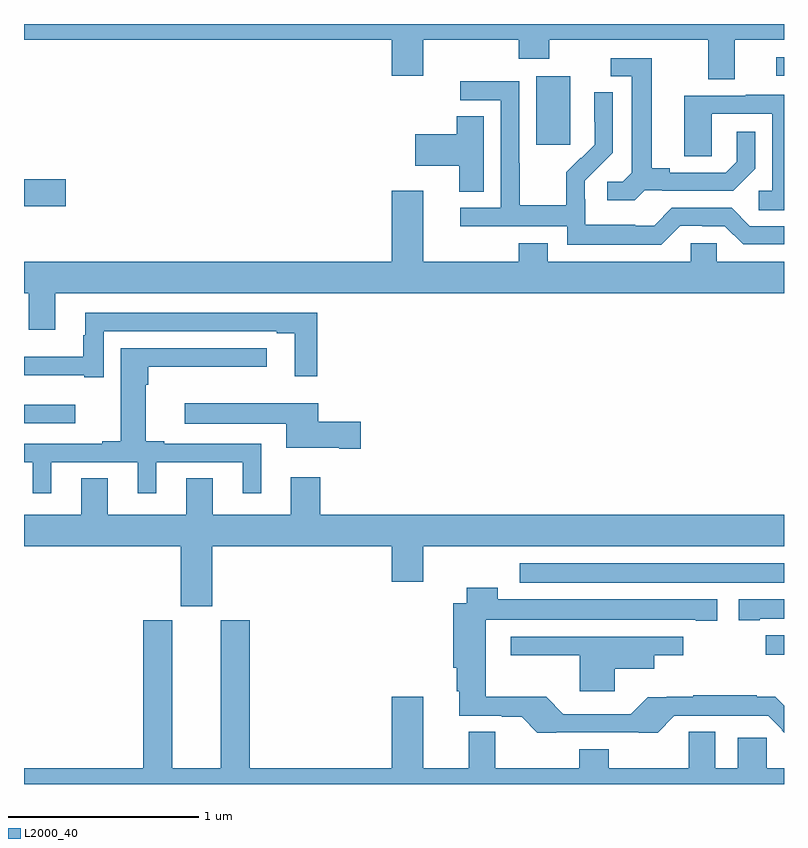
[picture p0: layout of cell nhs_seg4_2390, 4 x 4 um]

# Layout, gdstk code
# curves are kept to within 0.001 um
import gdstk
lib = gdstk.Library(unit=1e-6, precision=1e-09)
def R(c, l, rs):  # rectangles x0, y0, x1, y1
    for r in rs: c.add(gdstk.rectangle(r[:2], r[2:], *l))
def P(c, l, *ps):  # polygons
    for p in ps: c.add(gdstk.Polygon(p, *l))
L2000_40 = (2000, 40)

nhs_seg4_2390 = lib.new_cell('nhs_seg4_2390')
R(nhs_seg4_2390, L2000_40, [(238.905,797.579,239,797.683), (237.609,797.96,239,798.061), (235,798.798,235.27,798.895), (235,799.942,235.219,800.084), (237.695,800.265,237.874,800.626), (238.959,800.628,239,800.724)])
P(nhs_seg4_2390, L2000_40, [(235,800.816),(236.936,800.816),(236.936,800.628),(237.1,800.628),(237.1,800.816),(237.605,800.816),(237.605,800.717),(237.765,800.717),(237.765,800.816),(238.601,800.816),(238.601,800.608),(238.741,800.608),(238.741,800.816),(239,800.816),(239,800.9),(235,800.9)],
  [(238.266,800.025),(238.36,800.025),(238.36,800.022),(238.732,800.022),(238.848,800.138),(238.848,800.332),(238.751,800.332),(238.751,800.175),(238.694,800.118),(238.399,800.118),(238.399,800.141),(238.303,800.141),(238.303,800.721),(238.089,800.721),(238.089,800.625),(238.199,800.625),(238.199,800.117),(238.152,800.07),(238.071,800.07),(238.071,799.973),(238.214,799.973)],
  [(238.455,799.839),(238.571,799.839),(238.571,799.836),(238.689,799.836),(238.785,799.74),(239,799.74),(239,799.836),(238.821,799.836),(238.725,799.932),(238.41,799.932),(238.317,799.839),(238.217,799.839),(238.217,799.843),(237.954,799.843),(237.954,799.977),(237.952,799.977),(237.952,800.074),(238.098,800.222),(238.098,800.54),(238.002,800.54),(238.002,800.386),(238.004,800.386),(238.004,800.264),(237.933,800.193),(237.93,800.196),(237.853,800.119),(237.853,799.945),(237.609,799.945),(237.609,800.168),(237.606,800.168),(237.606,800.598),(237.297,800.598),(237.297,800.499),(237.51,800.499),(237.51,799.932),(237.297,799.932),(237.297,799.836),(237.858,799.836),(237.858,799.739),(238.355,799.739)],
  [(239,800.527),(238.799,800.527),(238.799,800.523),(238.475,800.523),(238.475,800.203),(238.62,800.203),(238.62,800.427),(238.938,800.427),(238.938,800.022),(238.866,800.022),(238.866,799.921),(239,799.921)],
  [(237.421,800.414),(237.278,800.414),(237.278,800.319),(237.06,800.319),(237.06,800.153),(237.29,800.153),(237.29,800.017),(237.421,800.017)],
  [(235.165,799.484),(239,799.484),(239,799.648),(238.647,799.648),(238.647,799.746),(238.509,799.746),(238.509,799.648),(237.757,799.648),(237.757,799.747),(237.605,799.747),(237.605,799.648),(237.1,799.648),(237.1,800.023),(236.936,800.023),(236.936,799.648),(235,799.648),(235,799.484),(235.025,799.484),(235.025,799.29),(235.165,799.29)],
  [(235.419,799.284),(236.33,799.284),(236.33,799.272),(236.426,799.272),(236.426,799.047),(236.543,799.047),(236.543,799.38),(235.322,799.38),(235.322,799.262),(235.311,799.262),(235.311,799.15),(235,799.15),(235,799.052),(235.316,799.052),(235.316,799.041),(235.419,799.041)],
  [(235.144,798.594),(235.598,798.594),(235.598,798.429),(235.696,798.429),(235.696,798.594),(236.15,798.594),(236.15,798.429),(236.248,798.429),(236.248,798.69),(235.738,798.69),(235.738,798.703),(235.642,798.703),(235.642,799.001),(235.655,799.001),(235.655,799.097),(236.278,799.097),(236.278,799.194),(235.508,799.194),(235.508,798.703),(235.412,798.703),(235.412,798.69),(235,798.69),(235,798.594),(235.046,798.594),(235.046,798.429),(235.144,798.429)],
  [(236.773,798.806),(236.548,798.806),(236.548,798.904),(235.845,798.904),(235.845,798.797),(236.381,798.797),(236.381,798.671),(236.66,798.671),(236.66,798.664),(236.773,798.664)],
  [(236.405,798.514),(236.405,798.316),(235.993,798.316),(235.993,798.509),(235.853,798.509),(235.853,798.316),(235.441,798.316),(235.441,798.509),(235.301,798.509),(235.301,798.316),(235,798.316),(235,798.152),(235.826,798.152),(235.826,797.835),(235.99,797.835),(235.99,798.152),(236.936,798.152),(236.936,797.964),(237.1,797.964),(237.1,798.152),(239,798.152),(239,798.316),(236.558,798.316),(236.558,798.514)],
  [(237.802,797.172),(238.335,797.171),(238.423,797.259),(238.917,797.259),(238.991,797.186),(238.988,797.183),(239,797.171),(239,797.312),(238.954,797.358),(238.856,797.358),(238.856,797.368),(238.522,797.368),(238.522,797.358),(238.384,797.358),(238.384,797.356),(238.282,797.356),(238.194,797.268),(237.838,797.268),(237.749,797.358),(237.43,797.358),(237.43,797.765),(238.535,797.765),(238.535,797.758),(238.648,797.758),(238.648,797.872),(237.494,797.872),(237.494,797.932),(237.329,797.932),(237.329,797.851),(237.26,797.851),(237.26,797.511),(237.278,797.511),(237.278,797.387),(237.29,797.387),(237.29,797.259),(237.515,797.259),(237.515,797.254),(237.619,797.254),(237.702,797.171)],
  [(238.873,797.771),(239,797.771),(239,797.872),(238.761,797.872),(238.761,797.761),(238.873,797.761)],
  [(239,796.984),(238.908,796.984),(238.908,797.143),(238.757,797.143),(238.757,796.984),(238.639,796.984),(238.639,797.174),(238.499,797.174),(238.499,796.984),(238.077,796.984),(238.077,797.083),(237.922,797.083),(237.922,796.984),(237.481,796.984),(237.481,797.174),(237.341,797.174),(237.341,796.984),(237.1,796.984),(237.1,797.359),(236.936,797.359),(236.936,796.984),(236.189,796.984),(236.189,797.763),(236.036,797.763),(236.036,796.984),(235.78,796.984),(235.78,797.763),(235.628,797.763),(235.628,796.984),(235,796.984),(235,796.9),(239,796.9)],
  [(238.109,797.507),(238.318,797.507),(238.318,797.578),(238.471,797.578),(238.471,797.676),(237.561,797.676),(237.561,797.578),(237.926,797.578),(237.926,797.388),(238.109,797.388)])

lib.write_gds('nhs_seg4_2390.gds')
